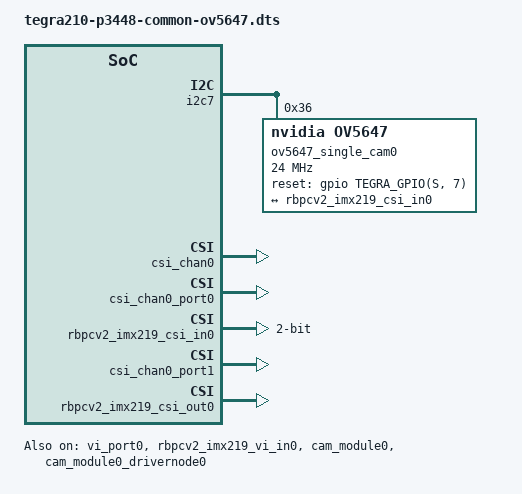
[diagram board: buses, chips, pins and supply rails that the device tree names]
// SPDX-License-Identifier: GPL-2.0
/* Jetson Nano A02 single-camera overlay for Raspberry Pi OV5647 modules. */

/dts-v1/;
/plugin/;

#include <dt-bindings/gpio/gpio.h>
#include <dt-bindings/gpio/tegra-gpio.h>
#include <dt-bindings/clock/tegra210-car.h>

/ {
	overlay-name = "Camera OV5647";
	jetson-header-name = "Jetson Nano CSI Connector";
	compatible = "nvidia,p3449-0000-a02+p3448-0000-a02";

	fragment@0 {
		target = <&i2c7>;
		__overlay__ {
			#address-cells = <1>;
			#size-cells = <0>;

			ov5647_single_cam0: ov5647_a@36 {
				compatible = "nvidia,ov5647";
				reg = <0x36>;
				status = "okay";
				devnode = "video0";
				physical_w = "3.670";
				physical_h = "2.740";
				sensor_model = "ov5647";
				use_sensor_mode_id = "true";
				/* Clone RPi-v1 modules documented by the bring-up use 24 MHz. */
				clocks = <&tegra_car TEGRA210_CLK_CLK_OUT_3>;
				clock-names = "clk_out_3";
				clock-frequency = <24000000>;
				mclk = "clk_out_3";
				reset-gpios = <&gpio TEGRA_GPIO(S, 7) GPIO_ACTIVE_HIGH>;

				mode0 {
					mclk_khz = "24000";
					num_lanes = "2";
					tegra_sinterface = "serial_a";
					phy_mode = "DPHY";
					discontinuous_clk = "yes";
					dpcm_enable = "false";
					cil_settletime = "0";
					mode_type = "bayer";
					pixel_phase = "bggr";
					csi_pixel_bit_depth = "10";
					pixel_t = "bayer_bggr10";
					active_w = "2592";
					active_h = "1944";
					readout_orientation = "0";
					line_length = "2844";
					inherent_gain = "1";
					mclk_multiplier = "3.5";
					pix_clk_hz = "84000000";
					gain_factor = "16";
					min_gain_val = "16";
					max_gain_val = "1023";
					step_gain_val = "1";
					default_gain = "16";
					min_hdr_ratio = "1";
					max_hdr_ratio = "1";
					framerate_factor = "1000000";
					min_framerate = "2000000";
					max_framerate = "15000000";
					step_framerate = "1";
					default_framerate = "15000000";
					exposure_factor = "1000000";
					min_exp_time = "131";
					max_exp_time = "499000";
					step_exp_time = "1";
					default_exp_time = "10000";
					embedded_metadata_height = "0";
				};

				mode1 {
					mclk_khz = "24000";
					num_lanes = "2";
					tegra_sinterface = "serial_a";
					phy_mode = "DPHY";
					discontinuous_clk = "yes";
					dpcm_enable = "false";
					cil_settletime = "0";
					mode_type = "bayer";
					pixel_phase = "bggr";
					csi_pixel_bit_depth = "10";
					pixel_t = "bayer_bggr10";
					active_w = "1920";
					active_h = "1080";
					readout_orientation = "0";
					line_length = "2416";
					inherent_gain = "1";
					mclk_multiplier = "3.5";
					pix_clk_hz = "84000000";
					gain_factor = "16";
					min_gain_val = "16";
					max_gain_val = "1023";
					step_gain_val = "1";
					default_gain = "16";
					min_hdr_ratio = "1";
					max_hdr_ratio = "1";
					framerate_factor = "1000000";
					min_framerate = "2000000";
					max_framerate = "30000000";
					step_framerate = "1";
					default_framerate = "30000000";
					exposure_factor = "1000000";
					min_exp_time = "111";
					max_exp_time = "499000";
					step_exp_time = "1";
					default_exp_time = "10000";
					embedded_metadata_height = "0";
				};

				mode2 {
					mclk_khz = "24000";
					num_lanes = "2";
					tegra_sinterface = "serial_a";
					phy_mode = "DPHY";
					discontinuous_clk = "yes";
					dpcm_enable = "false";
					cil_settletime = "0";
					mode_type = "bayer";
					pixel_phase = "bggr";
					csi_pixel_bit_depth = "10";
					pixel_t = "bayer_bggr10";
					active_w = "1296";
					active_h = "972";
					readout_orientation = "0";
					line_length = "1896";
					inherent_gain = "1";
					mclk_multiplier = "3.5";
					pix_clk_hz = "84000000";
					gain_factor = "16";
					min_gain_val = "16";
					max_gain_val = "1023";
					step_gain_val = "1";
					default_gain = "16";
					min_hdr_ratio = "1";
					max_hdr_ratio = "1";
					framerate_factor = "1000000";
					min_framerate = "2000000";
					max_framerate = "30000000";
					step_framerate = "1";
					default_framerate = "30000000";
					exposure_factor = "1000000";
					min_exp_time = "87";
					max_exp_time = "499000";
					step_exp_time = "1";
					default_exp_time = "10000";
					embedded_metadata_height = "0";
				};

				mode3 {
					mclk_khz = "24000";
					num_lanes = "2";
					tegra_sinterface = "serial_a";
					phy_mode = "DPHY";
					discontinuous_clk = "yes";
					dpcm_enable = "false";
					cil_settletime = "0";
					mode_type = "bayer";
					pixel_phase = "bggr";
					csi_pixel_bit_depth = "10";
					pixel_t = "bayer_bggr10";
					active_w = "640";
					active_h = "480";
					readout_orientation = "0";
					line_length = "1852";
					inherent_gain = "1";
					mclk_multiplier = "2.33332";
					pix_clk_hz = "56000000";
					gain_factor = "16";
					min_gain_val = "16";
					max_gain_val = "1023";
					step_gain_val = "1";
					default_gain = "16";
					min_hdr_ratio = "1";
					max_hdr_ratio = "1";
					framerate_factor = "1000000";
					min_framerate = "2000000";
					max_framerate = "60000000";
					step_framerate = "1";
					default_framerate = "60000000";
					exposure_factor = "1000000";
					min_exp_time = "128";
					max_exp_time = "499000";
					step_exp_time = "1";
					default_exp_time = "10000";
					embedded_metadata_height = "0";
				};

				ports {
					#address-cells = <1>;
					#size-cells = <0>;
					port@0 {
						reg = <0>;
						ov5647_out0: endpoint {
							port-index = <0>;
							bus-width = <2>;
							remote-endpoint = <&rbpcv2_imx219_csi_in0>;
						};
					};
				};
			};
		};
	};

	fragment@1 {
		target = <&imx219_single_cam0>;
		__overlay__ { status = "disabled"; };
	};

	fragment@2 {
		target = <&imx477_single_cam0>;
		__overlay__ { status = "disabled"; };
	};

	fragment@3 {
		target = <&vi_base>;
		__overlay__ { num-channels = <1>; };
	};

	fragment@4 {
		target = <&vi_port0>;
		__overlay__ { status = "okay"; };
	};

	fragment@5 {
		target = <&rbpcv2_imx219_vi_in0>;
		__overlay__ {
			status = "okay";
			port-index = <0>;
			bus-width = <2>;
			remote-endpoint = <&rbpcv2_imx219_csi_out0>;
		};
	};

	fragment@6 {
		target = <&csi_base>;
		__overlay__ { num-channels = <1>; };
	};

	fragment@7 {
		target = <&csi_chan0>;
		__overlay__ { status = "okay"; };
	};

	fragment@8 {
		target = <&csi_chan0_port0>;
		__overlay__ { status = "okay"; };
	};

	fragment@9 {
		target = <&rbpcv2_imx219_csi_in0>;
		__overlay__ {
			status = "okay";
			port-index = <0>;
			bus-width = <2>;
			remote-endpoint = <&ov5647_out0>;
		};
	};

	fragment@10 {
		target = <&csi_chan0_port1>;
		__overlay__ { status = "okay"; };
	};

	fragment@11 {
		target = <&rbpcv2_imx219_csi_out0>;
		__overlay__ {
			status = "okay";
			remote-endpoint = <&rbpcv2_imx219_vi_in0>;
		};
	};

	fragment@12 {
		target = <&cam_module0>;
		__overlay__ {
			status = "okay";
			badge = "porg_front_OV5647";
			position = "front";
			orientation = "1";
		};
	};

	fragment@13 {
		target = <&cam_module0_drivernode0>;
		__overlay__ {
			status = "okay";
			pcl_id = "v4l2_sensor";
			devname = "ov5647 6-0036";
			proc-device-tree = "/proc/device-tree/host1x/i2c@546c0000/ov5647_a@36";
		};
	};

	fragment@14 {
		target = <&cam_module0_drivernode1>;
		__overlay__ { status = "disabled"; };
	};

	fragment@15 {
		target = <&tcp>;
		__overlay__ {
			num_csi_lanes = <2>;
			max_lane_speed = <1500000>;
			min_bits_per_pixel = <10>;
			vi_peak_byte_per_pixel = <2>;
			vi_bw_margin_pct = <25>;
			max_pixel_rate = <87500>;
			isp_peak_byte_per_pixel = <5>;
			isp_bw_margin_pct = <25>;
		};
	};
};
